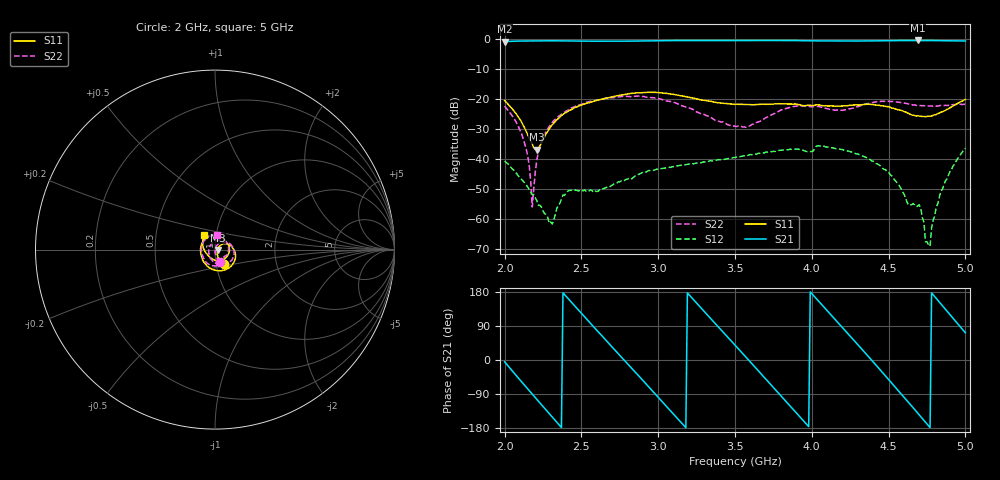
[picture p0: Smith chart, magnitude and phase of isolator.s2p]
#  HZ  S  DB  R  50.00
! Rohde & Schwarz Vector Network Analyzer
! Rohde-Schwarz,ZNB40-4Port,1311601084101506,3.12
! Created: UTC 11/24/2023, 1:33:16 PM
! freq[Hz]  db:S11  ang:S11  db:S21  ang:S21  db:S12  ang:S12  db:S22  ang:S22
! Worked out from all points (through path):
!   301 points, 2 GHz to 5 GHz, reference 50 ohm
!   highest |S21| = -0.53 dB at 4.69 GHz (marker M1); lowest = -0.9 dB at 2 GHz (marker M2)
!   lowest |S11| = -37.0 dB at 2.21 GHz (marker M3), VSWR 1.03, Z = 51.4 - j0.237 ohm
!   |S11| at or under -10 dB: start of sweep to end of sweep
!   |S22| runs from -56.1 to -19.1 dB; largest |S21 - S12| = 0.94
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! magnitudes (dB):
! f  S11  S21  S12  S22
! 2 GHz  -20.6  -0.9  -40.7  -22.4
! 2.14 GHz  -30.8  -0.7  -48.7  -36.6
! 2.16 GHz  -33.0  -0.7  -50.2  -42.2
! 2.18 GHz  -35.0  -0.7  -52.0  -56.1
! 2.21 GHz  -37.0  -0.6  -53.9  -40.3
! 2.24 GHz  -34.8  -0.6  -56.2  -34.1
! 2.31 GHz  -28.7  -0.6  -61.8  -27.9
! 2.38 GHz  -25.2  -0.7  -52.1  -24.7
! 2.5 GHz  -22.1  -0.7  -50.3  -21.9
! 3 GHz  -17.9  -0.6  -43.5  -19.9
! 3.5 GHz  -21.8  -0.6  -39.6  -29.1
! 4 GHz  -22.2  -0.6  -37.6  -22.6
! 4.27 GHz  -22.1  -0.7  -37.8  -23.1
! 4.5 GHz  -22.6  -0.6  -44.5  -20.8
! 4.63 GHz  -24.8  -0.6  -55.4  -21.7
! 4.69 GHz  -25.6  -0.5  -55.8  -22.2
! 4.73 GHz  -25.9  -0.5  -61.2  -22.3
! 4.74 GHz  -25.9  -0.5  -67.7  -22.3
! 4.77 GHz  -25.8  -0.6  -69.2  -22.4
! 4.78 GHz  -25.7  -0.6  -63.0  -22.4
! 4.84 GHz  -24.5  -0.6  -50.9  -22.2
! 5 GHz  -20.2  -0.7  -36.5  -21.9
